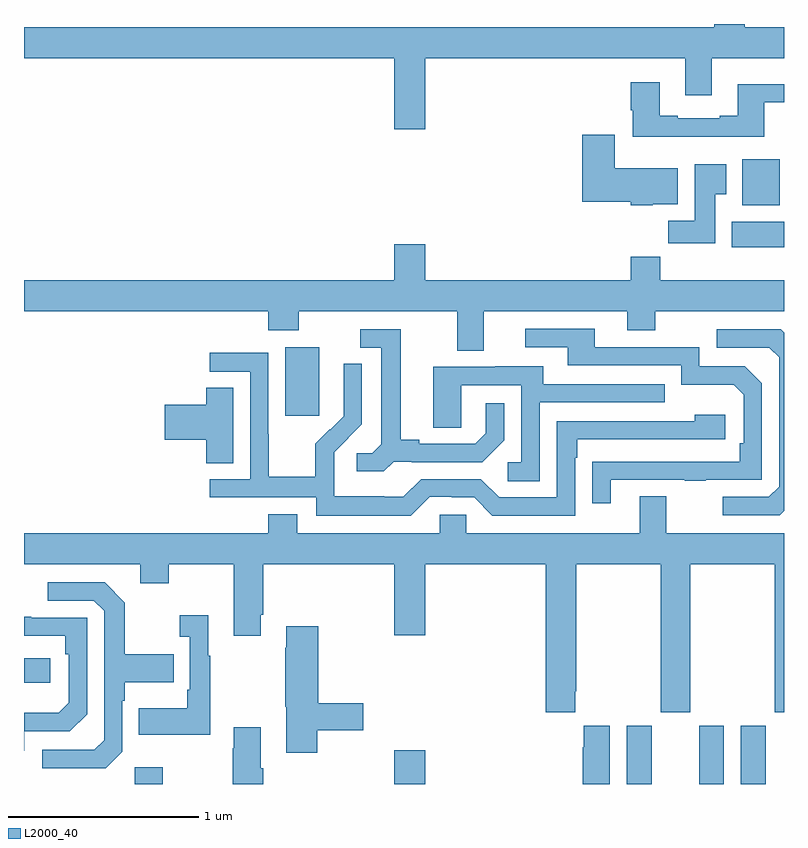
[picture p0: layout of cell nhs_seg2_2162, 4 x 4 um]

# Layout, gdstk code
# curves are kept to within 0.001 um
import gdstk
lib = gdstk.Library(unit=1e-6, precision=1e-09)
def R(c, l, rs):  # rectangles x0, y0, x1, y1
    for r in rs: c.add(gdstk.rectangle(r[:2], r[2:], *l))
def P(c, l, *ps):  # polygons
    for p in ps: c.add(gdstk.Polygon(p, *l))
L2000_40 = (2000, 40)

nhs_seg2_2162 = lib.new_cell('nhs_seg2_2162')
R(nhs_seg2_2162, L2000_40, [(223.584,659.8,223.731,659.887), (224.948,659.8,225.112,659.977), (226.172,659.8,226.303,660.106), (226.553,659.8,226.684,660.106), (226.772,659.8,226.903,660.106), (223,660.332,223.138,660.462), (224.375,661.737,224.554,662.098), (226.724,662.624,227,662.758), (226.781,662.846,226.978,663.088)])
P(nhs_seg2_2162, L2000_40, [(225.112,663.62),(226.481,663.62),(226.481,663.426),(226.621,663.426),(226.621,663.62),(227,663.62),(227,663.784),(226.794,663.784),(226.794,663.8),(226.634,663.8),(226.634,663.784),(223,663.784),(223,663.62),(224.948,663.62),(224.948,663.246),(225.112,663.246)],
  [(226.897,663.387),(227,663.387),(227,663.484),(226.757,663.484),(226.757,663.316),(226.661,663.316),(226.661,663.303),(226.441,663.303),(226.441,663.316),(226.345,663.316),(226.345,663.493),(226.193,663.493),(226.193,663.345),(226.205,663.345),(226.205,663.206),(226.897,663.206)],
  [(226.308,662.852),(226.441,662.852),(226.441,663.04),(226.108,663.04),(226.108,663.217),(225.938,663.217),(225.938,662.864),(226.194,662.864),(226.194,662.846),(226.308,662.846)],
  [(226.639,662.905),(226.696,662.905),(226.696,663.061),(226.529,663.061),(226.529,662.764),(226.39,662.764),(226.39,662.646),(226.639,662.646)],
  [(225.421,662.288),(226.175,662.288),(226.175,662.189),(226.323,662.189),(226.323,662.288),(227,662.288),(227,662.452),(226.349,662.452),(226.349,662.576),(226.193,662.576),(226.193,662.452),(225.112,662.452),(225.112,662.641),(224.948,662.641),(224.948,662.452),(223,662.452),(223,662.288),(224.285,662.288),(224.285,662.189),(224.445,662.189),(224.445,662.288),(225.281,662.288),(225.281,662.08),(225.421,662.08)],
  [(226.087,661.401),(226.477,661.401),(226.477,661.396),(226.589,661.396),(226.589,661.401),(226.884,661.401),(226.884,661.908),(226.794,661.998),(226.554,661.998),(226.554,662.1),(226.003,662.1),(226.003,662.196),(225.639,662.196),(225.639,662.1),(225.863,662.1),(225.863,662.004),(226.458,662.004),(226.458,661.901),(226.735,661.901),(226.788,661.848),(226.788,661.594),(226.768,661.594),(226.768,661.497),(225.991,661.496),(225.991,661.278),(226.087,661.278)],
  [(224.946,661.497),(225.04,661.497),(225.04,661.494),(225.412,661.494),(225.528,661.61),(225.528,661.804),(225.431,661.804),(225.431,661.647),(225.374,661.59),(225.079,661.59),(225.079,661.613),(224.983,661.613),(224.983,662.193),(224.769,662.193),(224.769,662.097),(224.879,662.097),(224.879,661.589),(224.832,661.542),(224.751,661.542),(224.751,661.445),(224.894,661.445)],
  [(227,661.238),(227,662.176),(226.983,662.193),(226.647,662.193),(226.647,662.097),(226.923,662.097),(226.974,662.046),(226.974,661.365),(226.92,661.311),(226.677,661.311),(226.677,661.215),(226.977,661.215)],
  [(225.135,661.311),(225.251,661.311),(225.251,661.308),(225.369,661.308),(225.465,661.212),(225.9,661.212),(225.9,661.517),(225.913,661.517),(225.913,661.614),(226.69,661.614),(226.69,661.744),(226.529,661.744),(226.529,661.71),(225.804,661.71),(225.804,661.308),(225.501,661.308),(225.405,661.404),(225.09,661.404),(224.997,661.311),(224.897,661.311),(224.897,661.315),(224.634,661.315),(224.634,661.449),(224.632,661.449),(224.632,661.546),(224.778,661.694),(224.778,662.012),(224.682,662.012),(224.682,661.858),(224.684,661.858),(224.684,661.736),(224.613,661.665),(224.61,661.668),(224.533,661.591),(224.533,661.417),(224.289,661.417),(224.289,661.64),(224.286,661.64),(224.286,662.07),(223.977,662.07),(223.977,661.971),(224.19,661.971),(224.19,661.404),(223.977,661.404),(223.977,661.308),(224.538,661.308),(224.538,661.211),(225.035,661.211)],
  [(225.714,661.809),(226.373,661.809),(226.373,661.905),(225.733,661.905),(225.733,661.999),(225.479,661.999),(225.479,661.995),(225.155,661.995),(225.155,661.675),(225.3,661.675),(225.3,661.899),(225.618,661.899),(225.618,661.494),(225.546,661.494),(225.546,661.393),(225.714,661.393)],
  [(224.101,661.886),(223.958,661.886),(223.958,661.796),(223.74,661.796),(223.74,661.613),(223.958,661.613),(223.958,661.489),(224.101,661.489)],
  [(225.901,660.289),(225.906,660.289),(225.906,660.956),(226.351,660.956),(226.351,660.177),(226.506,660.177),(226.506,660.956),(226.951,660.956),(226.951,660.177),(227,660.177),(227,661.12),(226.381,661.12),(226.381,661.315),(226.241,661.315),(226.241,661.12),(225.327,661.12),(225.327,661.218),(225.189,661.218),(225.189,661.12),(224.437,661.12),(224.437,661.219),(224.285,661.219),(224.285,661.12),(223,661.12),(223,660.956),(223.613,660.956),(223.613,660.857),(223.761,660.857),(223.761,660.956),(224.105,660.956),(224.105,660.579),(224.245,660.579),(224.245,660.691),(224.258,660.691),(224.258,660.956),(224.948,660.956),(224.948,660.582),(225.112,660.582),(225.112,660.956),(225.746,660.956),(225.746,660.177),(225.901,660.177)],
  [(223.518,659.97),(223.518,660.239),(223.531,660.239),(223.531,660.335),(223.787,660.335),(223.787,660.483),(223.531,660.483),(223.531,660.755),(223.425,660.861),(223.125,660.861),(223.125,660.765),(223.368,660.765),(223.422,660.711),(223.422,660.03),(223.371,659.979),(223.095,659.979),(223.095,659.883),(223.431,659.883)],
  [(223.981,660.475),(223.969,660.475),(223.969,660.688),(223.821,660.688),(223.821,660.575),(223.872,660.575),(223.872,660.295),(223.86,660.295),(223.86,660.199),(223.603,660.199),(223.603,660.059),(223.981,660.059)],
  [(223.002,660.078),(223.242,660.078),(223.332,660.168),(223.332,660.675),(223.037,660.675),(223.037,660.68),(223,660.68),(223,660.579),(223.216,660.579),(223.216,660.482),(223.236,660.482),(223.236,660.228),(223.183,660.175),(223,660.175),(223,659.976),(223.002,659.976)],
  [(224.544,660.082),(224.785,660.082),(224.785,660.224),(224.549,660.224),(224.549,660.631),(224.381,660.631),(224.381,660.518),(224.374,660.518),(224.374,660.207),(224.381,660.207),(224.381,659.964),(224.544,659.964)],
  [(226.084,660.106),(225.947,660.106),(225.947,659.993),(225.941,659.993),(225.941,659.8),(226.084,659.8)],
  [(224.258,659.884),(224.245,659.884),(224.245,660.1),(224.105,660.1),(224.105,659.987),(224.098,659.987),(224.098,659.8),(224.258,659.8)])

lib.write_gds('nhs_seg2_2162.gds')
